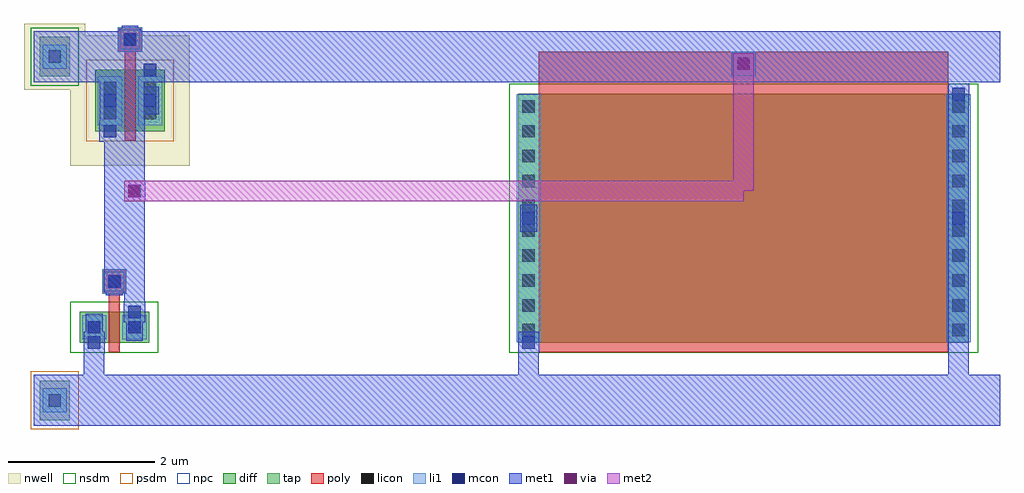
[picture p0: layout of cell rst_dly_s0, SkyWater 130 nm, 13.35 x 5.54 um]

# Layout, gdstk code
import gdstk
lib = gdstk.Library(unit=1e-6, precision=1e-09)
def R(c, l, rs):  # rectangles x0, y0, x1, y1
    for r in rs: c.add(gdstk.rectangle(r[:2], r[2:], *l))
def A(c, l, x, y, w, h, nx, ny, dx, dy):  # array of equal rectangles
    R(c, l, [(x+i*dx, y+j*dy, x+i*dx+w, y+j*dy+h) for i in range(nx) for j in range(ny)])
nwell = (64, 20)
diff = (65, 20)
tap = (65, 44)
poly = (66, 20)
licon = (66, 44)
li1 = (67, 20)
mcon = (67, 44)
met1 = (68, 20)
via = (68, 44)
met2 = (69, 20)
nsdm = (93, 44)
psdm = (94, 20)
npc = (95, 20)

ac_n_420_150_1 = lib.new_cell('ac_n_420_150_1')
R(ac_n_420_150_1, diff, [(-0.475,-0.21,0.475,0.21)])
R(ac_n_420_150_1, poly, [(-0.075,-0.34,0.075,0.34), (-0.075,0.34,0.075,0.79), (-0.165,0.46,0.165,0.79)])
R(ac_n_420_150_1, licon, [(-0.36,-0.085,-0.19,0.085), (0.19,-0.085,0.36,0.085), (-0.085,0.54,0.085,0.71)])
R(ac_n_420_150_1, li1, [(-0.44,-0.165,-0.11,0.165), (0.11,-0.165,0.44,0.165), (-0.165,0.46,0.165,0.79)])
R(ac_n_420_150_1, mcon, [(-0.36,-0.085,-0.19,0.085), (0.19,-0.085,0.36,0.085), (-0.085,0.54,0.085,0.71)])
R(ac_n_420_150_1, met1, [(-0.39,-0.185,-0.16,0.185), (0.16,-0.185,0.39,0.185), (-0.115,0.44,0.115,0.81)])
R(ac_n_420_150_1, nsdm, [(-0.6,-0.35,0.6,0.35)])
R(ac_n_420_150_1, npc, [(-0.135,0.49,0.135,0.76)])

ac_p_840_150_2 = lib.new_cell('ac_p_840_150_2')
R(ac_p_840_150_2, nwell, [(-0.815,-0.89,0.815,0.89)])
R(ac_p_840_150_2, diff, [(-0.475,-0.42,0.475,0.42)])
R(ac_p_840_150_2, poly, [(-0.075,-0.55,0.075,0.55), (-0.075,0.55,0.075,1), (-0.165,0.67,0.165,1)])
R(ac_p_840_150_2, licon, [(-0.36,-0.255,-0.19,-0.085), (0.19,-0.255,0.36,-0.085), (-0.36,0.085,-0.19,0.255), (0.19,0.085,0.36,0.255), (-0.085,0.75,0.085,0.92)])
R(ac_p_840_150_2, li1, [(-0.44,-0.335,-0.11,0.335), (0.11,-0.335,0.44,0.335), (-0.165,0.67,0.165,1)])
R(ac_p_840_150_2, mcon, [(-0.36,-0.085,-0.19,0.085), (0.19,-0.085,0.36,0.085), (-0.085,0.75,0.085,0.92)])
R(ac_p_840_150_2, met1, [(-0.39,-0.185,-0.16,0.185), (0.16,-0.185,0.39,0.185), (-0.115,0.65,0.115,1.02)])
R(ac_p_840_150_2, psdm, [(-0.6,-0.56,0.6,0.56)])
R(ac_p_840_150_2, npc, [(-0.135,0.7,0.135,0.97)])

ac_n_3400_5600_3 = lib.new_cell('ac_n_3400_5600_3')
R(ac_n_3400_5600_3, diff, [(-3.08,-1.7,3.08,1.7)])
R(ac_n_3400_5600_3, poly, [(-2.8,-1.83,2.8,1.83), (-2.8,1.83,2.8,2.28), (-0.165,1.95,0.165,2.28)])
A(ac_n_3400_5600_3, licon, -3.025, -1.615, 0.17, 0.17, 1, 10, 0, 0.34)
A(ac_n_3400_5600_3, licon, 2.855, -1.615, 0.17, 0.17, 1, 10, 0, 0.34)
R(ac_n_3400_5600_3, licon, [(-0.085,2.03,0.085,2.2)])
R(ac_n_3400_5600_3, li1, [(-3.105,-1.695,-2.775,1.695), (2.775,-1.695,3.105,1.695), (-0.165,1.95,0.165,2.28)])
R(ac_n_3400_5600_3, mcon, [(-3.025,-0.085,-2.855,0.085), (2.855,-0.085,3.025,0.085), (-0.085,2.03,0.085,2.2)])
R(ac_n_3400_5600_3, met1, [(-3.055,-0.185,-2.825,0.185), (2.825,-0.185,3.055,0.185), (-0.115,1.93,0.115,2.3)])
R(ac_n_3400_5600_3, nsdm, [(-3.205,-1.84,3.205,1.84)])
R(ac_n_3400_5600_3, npc, [(-0.135,1.98,0.135,2.25)])

rst_dly_s0 = lib.new_cell('rst_dly_s0')
R(rst_dly_s0, nwell, [(-0.135,4.6,0.705,5.5)])
R(rst_dly_s0, tap, [(0.08,0.08,0.49,0.62), (0.08,4.78,0.49,5.32)])
R(rst_dly_s0, licon, [(0.2,0.265,0.37,0.435), (0.2,4.965,0.37,5.135)])
R(rst_dly_s0, li1, [(0.12,0.185,0.45,0.515), (0.12,4.885,0.45,5.215)])
R(rst_dly_s0, mcon, [(0.74,1.055,0.91,1.225), (6.68,1.055,6.85,1.225), (1.29,1.475,1.46,1.645), (1.015,1.89,1.185,2.06), (1.29,3.13,1.46,3.3), (0.955,3.945,1.125,4.115), (12.56,4.455,12.73,4.625), (1.505,4.785,1.675,4.955), (9.62,4.87,9.79,5.04), (1.23,5.2,1.4,5.37)])
R(rst_dly_s0, met1, [(0,0,13.21,0.7), (0.685,0.35,0.965,1.14), (6.625,0.35,6.905,1.14), (12.505,0.35,12.785,4.54), (0.68,0.995,0.97,1.285), (6.62,0.995,6.91,1.285), (1.23,1.415,1.52,1.705), (1.235,1.56,1.515,4.87), (0.955,1.83,1.245,2.12), (0.96,1.975,1.24,5.285), (1.23,3.07,1.52,3.36), (1.235,3.075,1.515,3.355), (0.895,3.885,1.185,4.175), (0.9,4.03,1.18,5.05), (12.5,4.395,12.79,4.685), (0,4.7,13.21,5.4), (1.445,4.725,1.735,5.015), (9.56,4.81,9.85,5.1), (9.565,4.815,9.845,5.095), (1.17,5.14,1.46,5.43)])
R(rst_dly_s0, via, [(1.3,3.14,1.45,3.29), (9.63,4.88,9.78,5.03)])
R(rst_dly_s0, met2, [(1.235,3.075,1.515,3.355), (1.375,3.075,9.705,3.355), (9.565,3.215,9.845,4.955), (9.565,4.815,9.845,5.095)])
R(rst_dly_s0, nsdm, [(-0.045,4.655,0.615,5.445)])
R(rst_dly_s0, psdm, [(-0.045,-0.045,0.615,0.745)])
rst_dly_s0.add(gdstk.Reference(ac_n_420_150_1, (1.1,1.35)))
rst_dly_s0.add(gdstk.Reference(ac_p_840_150_2, (1.315,4.45)))
rst_dly_s0.add(gdstk.Reference(ac_n_3400_5600_3, (9.705,2.84)))

lib.write_gds('rst_dly_s0.gds')
